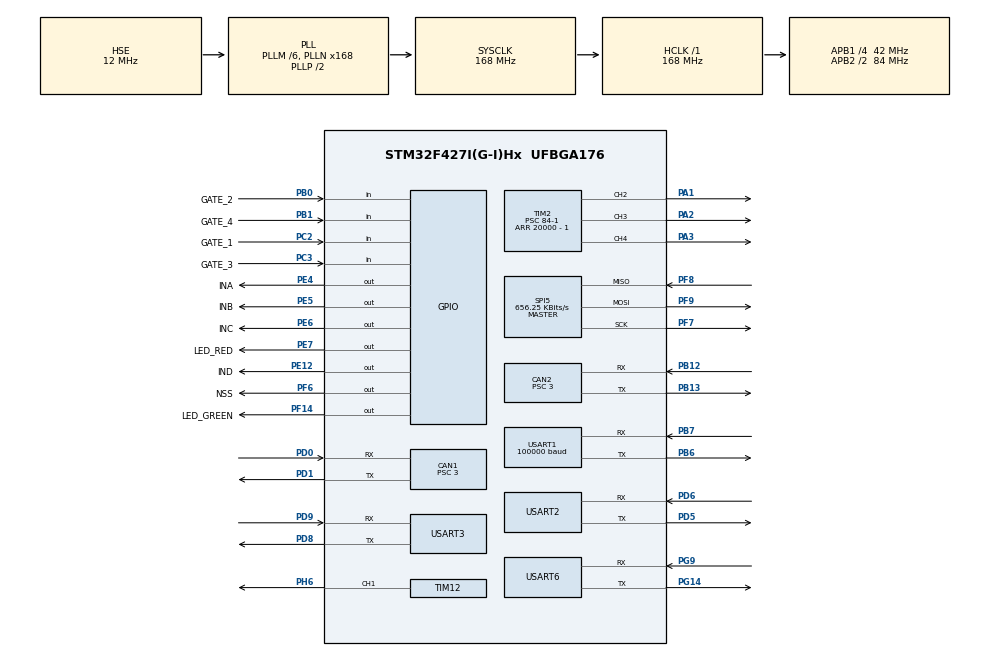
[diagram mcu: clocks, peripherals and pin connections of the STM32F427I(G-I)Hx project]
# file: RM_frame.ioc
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CAN1.BS1=CAN_BS1_9TQ
CAN1.BS2=CAN_BS2_4TQ
CAN1.CalculateTimeBit=1000
CAN1.CalculateTimeQuantum=71.42857142857143
CAN1.Prescaler=3
CAN2.BS1=CAN_BS1_9TQ
CAN2.BS2=CAN_BS2_4TQ
CAN2.CalculateTimeBit=1000
CAN2.CalculateTimeQuantum=71.42857142857143
CAN2.Prescaler=3
Dma.Request0=USART1_RX
Dma.Request1=USART3_RX
Dma.Request2=USART2_RX
Dma.Request3=USART6_RX
Dma.Request4=USART6_TX
Dma.USART1_RX.0.Direction=DMA_PERIPH_TO_MEMORY
Dma.USART1_RX.0.FIFOMode=DMA_FIFOMODE_DISABLE
Dma.USART1_RX.0.Instance=DMA2_Stream2
Dma.USART1_RX.0.MemDataAlignment=DMA_MDATAALIGN_BYTE
Dma.USART1_RX.0.MemInc=DMA_MINC_ENABLE
Dma.USART1_RX.0.Mode=DMA_NORMAL
Dma.USART1_RX.0.PeriphDataAlignment=DMA_PDATAALIGN_BYTE
Dma.USART1_RX.0.PeriphInc=DMA_PINC_DISABLE
Dma.USART1_RX.0.Priority=DMA_PRIORITY_LOW
Dma.USART2_RX.2.Direction=DMA_PERIPH_TO_MEMORY
Dma.USART2_RX.2.FIFOMode=DMA_FIFOMODE_DISABLE
Dma.USART2_RX.2.Instance=DMA1_Stream5
Dma.USART2_RX.2.MemDataAlignment=DMA_MDATAALIGN_BYTE
Dma.USART2_RX.2.MemInc=DMA_MINC_ENABLE
Dma.USART2_RX.2.Mode=DMA_NORMAL
Dma.USART2_RX.2.PeriphDataAlignment=DMA_PDATAALIGN_BYTE
Dma.USART2_RX.2.PeriphInc=DMA_PINC_DISABLE
Dma.USART2_RX.2.Priority=DMA_PRIORITY_LOW
Dma.USART3_RX.1.Direction=DMA_PERIPH_TO_MEMORY
Dma.USART3_RX.1.FIFOMode=DMA_FIFOMODE_DISABLE
Dma.USART3_RX.1.Instance=DMA1_Stream1
Dma.USART3_RX.1.MemDataAlignment=DMA_MDATAALIGN_BYTE
Dma.USART3_RX.1.MemInc=DMA_MINC_ENABLE
Dma.USART3_RX.1.Mode=DMA_NORMAL
Dma.USART3_RX.1.PeriphDataAlignment=DMA_PDATAALIGN_BYTE
Dma.USART3_RX.1.PeriphInc=DMA_PINC_DISABLE
Dma.USART3_RX.1.Priority=DMA_PRIORITY_LOW
Dma.USART6_RX.3.Direction=DMA_PERIPH_TO_MEMORY
Dma.USART6_RX.3.FIFOMode=DMA_FIFOMODE_DISABLE
Dma.USART6_RX.3.Instance=DMA2_Stream1
Dma.USART6_RX.3.MemDataAlignment=DMA_MDATAALIGN_BYTE
Dma.USART6_RX.3.MemInc=DMA_MINC_ENABLE
Dma.USART6_RX.3.Mode=DMA_NORMAL
Dma.USART6_RX.3.PeriphDataAlignment=DMA_PDATAALIGN_BYTE
Dma.USART6_RX.3.PeriphInc=DMA_PINC_DISABLE
Dma.USART6_RX.3.Priority=DMA_PRIORITY_LOW
Dma.USART6_TX.4.Direction=DMA_MEMORY_TO_PERIPH
Dma.USART6_TX.4.FIFOMode=DMA_FIFOMODE_DISABLE
Dma.USART6_TX.4.Instance=DMA2_Stream6
Dma.USART6_TX.4.MemDataAlignment=DMA_MDATAALIGN_BYTE
Dma.USART6_TX.4.MemInc=DMA_MINC_ENABLE
Dma.USART6_TX.4.Mode=DMA_NORMAL
Dma.USART6_TX.4.PeriphDataAlignment=DMA_PDATAALIGN_BYTE
Dma.USART6_TX.4.PeriphInc=DMA_PINC_DISABLE
Dma.USART6_TX.4.Priority=DMA_PRIORITY_LOW
IWDG.Prescaler=IWDG_PRESCALER_32
IWDG.Reload=300
Mcu.Family=STM32F4
Mcu.Name=STM32F427I(G-I)Hx
Mcu.Package=UFBGA176
NVIC.CAN1_RX0_IRQn=true\:0\:0\:true\:false\:true\:true
NVIC.CAN1_TX_IRQn=true\:0\:0\:true\:false\:true\:true
NVIC.CAN2_RX0_IRQn=true\:1\:0\:true\:false\:true\:true
NVIC.CAN2_TX_IRQn=true\:2\:0\:true\:false\:true\:true
NVIC.DMA1_Stream1_IRQn=true\:0\:0\:true\:false\:true\:false
NVIC.DMA1_Stream5_IRQn=true\:0\:0\:false\:false\:true\:false
NVIC.DMA2_Stream1_IRQn=true\:0\:0\:false\:false\:true\:false
NVIC.DMA2_Stream2_IRQn=true\:0\:0\:false\:false\:true\:false
NVIC.DMA2_Stream6_IRQn=true\:0\:0\:false\:false\:true\:false
NVIC.PriorityGroup=NVIC_PRIORITYGROUP_4
NVIC.TIM1_UP_TIM10_IRQn=true\:4\:0\:true\:false\:true\:true
NVIC.TIM6_DAC_IRQn=true\:3\:0\:true\:false\:true\:true
NVIC.TIM7_IRQn=true\:0\:0\:true\:false\:true\:true
NVIC.USART1_IRQn=true\:0\:0\:true\:false\:true\:true
NVIC.USART2_IRQn=true\:1\:0\:true\:false\:true\:true
NVIC.USART3_IRQn=true\:1\:0\:true\:false\:true\:true
NVIC.USART6_IRQn=true\:1\:0\:true\:false\:true\:true
PA1.Signal=S_TIM2_CH2
PA2.Signal=S_TIM2_CH3
PA3.Signal=S_TIM2_CH4
PB0.GPIO_Label=GATE_2
PB0.Signal=GPIO_Input
PB1.GPIO_Label=GATE_4
PB1.Signal=GPIO_Input
PB12.Mode=Slave
PB12.Signal=CAN2_RX
PB13.Mode=Slave
PB13.Signal=CAN2_TX
PB6.Mode=Asynchronous
PB6.Signal=USART1_TX
PB7.Mode=Asynchronous
PB7.Signal=USART1_RX
PC2.GPIO_Label=GATE_1
PC2.Signal=GPIO_Input
PC3.GPIO_Label=GATE_3
PC3.Signal=GPIO_Input
PD0.Mode=Master
PD0.Signal=CAN1_RX
PD1.Mode=Master
PD1.Signal=CAN1_TX
PD5.Mode=Asynchronous
PD5.Signal=USART2_TX
PD6.Mode=Asynchronous
PD6.Signal=USART2_RX
PD8.Mode=Asynchronous
PD8.Signal=USART3_TX
PD9.Mode=Asynchronous
PD9.Signal=USART3_RX
PE12.GPIO_Label=IND
PE12.Signal=GPIO_Output
PE4.GPIO_Label=INA
PE4.Signal=GPIO_Output
PE5.GPIO_Label=INB
PE5.Signal=GPIO_Output
PE6.GPIO_Label=INC
PE6.Signal=GPIO_Output
PE7.GPIO_Label=LED_RED
PE7.Signal=GPIO_Output
PF14.GPIO_Label=LED_GREEN
PF14.Signal=GPIO_Output
PF6.GPIO_Label=NSS
PF6.Signal=GPIO_Output
PF7.Mode=Full_Duplex_Master
PF7.Signal=SPI5_SCK
PF8.Mode=Full_Duplex_Master
PF8.Signal=SPI5_MISO
PF9.Mode=Full_Duplex_Master
PF9.Signal=SPI5_MOSI
PG14.Mode=Asynchronous
PG14.Signal=USART6_TX
PG9.Mode=Asynchronous
PG9.Signal=USART6_RX
PH0/OSC_IN.Mode=HSE-External-Oscillator
PH0/OSC_IN.Signal=RCC_OSC_IN
PH1/OSC_OUT.Mode=HSE-External-Oscillator
PH1/OSC_OUT.Signal=RCC_OSC_OUT
PH6.Signal=S_TIM12_CH1
ProjectManager.HeapSize=0x200
ProjectManager.StackSize=0x400
ProjectManager.TargetToolchain=MDK-ARM V5
RCC.48MHZClocksFreq_Value=84000000
RCC.AHBFreq_Value=168000000
RCC.APB1CLKDivider=RCC_HCLK_DIV4
RCC.APB1Freq_Value=42000000
RCC.APB1TimFreq_Value=84000000
RCC.APB2CLKDivider=RCC_HCLK_DIV2
RCC.APB2Freq_Value=84000000
RCC.APB2TimFreq_Value=168000000
RCC.CortexFreq_Value=168000000
RCC.HCLKFreq_Value=168000000
RCC.HSE_VALUE=12000000
RCC.HSI_VALUE=16000000
RCC.LSE_VALUE=32768
RCC.PLLM=6
RCC.PLLN=168
RCC.PLLSourceVirtual=RCC_PLLSOURCE_HSE
RCC.SYSCLKFreq_VALUE=168000000
RCC.SYSCLKSource=RCC_SYSCLKSOURCE_PLLCLK
RCC.VCOOutputFreq_Value=336000000
SH.S_TIM12_CH1.0=TIM12_CH1,PWM Generation1 CH1
SH.S_TIM2_CH2.0=TIM2_CH2,PWM Generation2 CH2
SH.S_TIM2_CH3.0=TIM2_CH3,PWM Generation3 CH3
SH.S_TIM2_CH4.0=TIM2_CH4,PWM Generation4 CH4
SPI5.BaudRatePrescaler=SPI_BAUDRATEPRESCALER_128
SPI5.CalculateBaudRate=656.25 KBits/s
SPI5.Direction=SPI_DIRECTION_2LINES
SPI5.Mode=SPI_MODE_MASTER
SPI5.VirtualType=VM_MASTER
TIM10.Period=10000
TIM10.Prescaler=168-1
TIM12.Channel-PWM\ Generation1\ CH1=TIM_CHANNEL_1
TIM12.Period=2500-1
TIM12.Prescaler=84-1
TIM12.Pulse-PWM\ Generation1\ CH1=1000
TIM2.Channel-PWM\ Generation2\ CH2=TIM_CHANNEL_2
TIM2.Channel-PWM\ Generation3\ CH3=TIM_CHANNEL_3
TIM2.Channel-PWM\ Generation4\ CH4=TIM_CHANNEL_4
TIM2.Period=20000 - 1
TIM2.Prescaler=84-1
TIM6.Period=2000
TIM6.Prescaler=84-1
TIM7.Period=1000
TIM7.Prescaler=84-1
USART1.BaudRate=100000
USART1.Mode=MODE_RX
USART1.Parity=PARITY_EVEN
USART1.VirtualMode=VM_ASYNC
USART1.WordLength=WORDLENGTH_9B
USART2.VirtualMode=VM_ASYNC
USART3.VirtualMode=VM_ASYNC
USART6.VirtualMode=VM_ASYNC
VP_IWDG_VS_IWDG.Mode=IWDG_Activate
VP_TIM10_VS_ClockSourceINT.Mode=Enable_Timer
VP_TIM12_VS_ClockSourceINT.Mode=Internal
VP_TIM2_VS_ClockSourceINT.Mode=Internal
VP_TIM6_VS_ClockSourceINT.Mode=Enable_Timer
VP_TIM7_VS_ClockSourceINT.Mode=Enable_Timer
board=RM_frame

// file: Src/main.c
/**
  ******************************************************************************
  * @file           : main.c
  * @brief          : Main program body
  ******************************************************************************
  ** This notice applies to any and all portions of this file
  * that are not between comment pairs USER CODE BEGIN and
  * USER CODE END. Other portions of this file, whether
  * inserted by the user or by software development tools
  * are owned by their respective copyright owners.
  *
  * COPYRIGHT(c) 2018 STMicroelectronics
  *
  * Redistribution and use in source and binary forms, with or without modification,
  * are permitted provided that the following conditions are met:
  *   1. Redistributions of source code must retain the above copyright notice,
  *      this list of conditions and the following disclaimer.
  *   2. Redistributions in binary form must reproduce the above copyright notice,
  *      this list of conditions and the following disclaimer in the documentation
  *      and/or other materials provided with the distribution.
  *   3. Neither the name of STMicroelectronics nor the names of its contributors
  *      may be used to endorse or promote products derived from this software
  *      without specific prior written permission.
  *
  * THIS SOFTWARE IS PROVIDED BY THE COPYRIGHT HOLDERS AND CONTRIBUTORS "AS IS"
  * AND ANY EXPRESS OR IMPLIED WARRANTIES, INCLUDING, BUT NOT LIMITED TO, THE
  * IMPLIED WARRANTIES OF MERCHANTABILITY AND FITNESS FOR A PARTICULAR PURPOSE ARE
  * DISCLAIMED. IN NO EVENT SHALL THE COPYRIGHT HOLDER OR CONTRIBUTORS BE LIABLE
  * FOR ANY DIRECT, INDIRECT, INCIDENTAL, SPECIAL, EXEMPLARY, OR CONSEQUENTIAL
  * DAMAGES (INCLUDING, BUT NOT LIMITED TO, PROCUREMENT OF SUBSTITUTE GOODS OR
  * SERVICES; LOSS OF USE, DATA, OR PROFITS; OR BUSINESS INTERRUPTION) HOWEVER
  * CAUSED AND ON ANY THEORY OF LIABILITY, WHETHER IN CONTRACT, STRICT LIABILITY,
  * OR TORT (INCLUDING NEGLIGENCE OR OTHERWISE) ARISING IN ANY WAY OUT OF THE USE
  * OF THIS SOFTWARE, EVEN IF ADVISED OF THE POSSIBILITY OF SUCH DAMAGE.
  *
  ******************************************************************************
  */
#include "main.h"
#include "stm32f4xx_hal.h"
#include "can.h"
#include "dma.h"
#include "iwdg.h"
#include "spi.h"
#include "tim.h"
#include "usart.h"
#include "gpio.h"

/* USER CODE BEGIN Includes */
#include "includes.h"
/* USER CODE END Includes */

/* USER CODE BEGIN PV */
uint32_t ADC_Value[160];
/* Private variables ---------------------------------------------------------*/

/* USER CODE END PV */

void SystemClock_Config(void);

/* USER CODE BEGIN PFP */
/* Private function prototypes -----------------------------------------------*/

/* USER CODE END PFP */

int main(void)
{

  /* MCU Configuration----------------------------------------------------------*/

  /* Reset of all peripherals, Initializes the Flash interface and the Systick. */
  HAL_Init();

  /* Configure the system clock */
  SystemClock_Config();

  /* USER CODE BEGIN SysInit */
	HAL_NVIC_DisableIRQ(USART2_IRQn);
	HAL_NVIC_DisableIRQ(USART3_IRQn);
	HAL_NVIC_DisableIRQ(USART6_IRQn);
	HAL_NVIC_DisableIRQ(DMA1_Stream1_IRQn);
	HAL_NVIC_DisableIRQ(DMA1_Stream5_IRQn);
	HAL_NVIC_DisableIRQ(DMA2_Stream1_IRQn);

	HAL_NVIC_DisableIRQ(CAN1_RX0_IRQn);
	HAL_NVIC_DisableIRQ(CAN2_RX0_IRQn);
	HAL_NVIC_DisableIRQ(USART1_IRQn);
	HAL_NVIC_DisableIRQ(DMA2_Stream2_IRQn);
	HAL_NVIC_DisableIRQ(TIM7_IRQn);
	HAL_NVIC_DisableIRQ(TIM6_DAC_IRQn);
	#ifdef DEBUG_MODE
		HAL_NVIC_DisableIRQ(TIM1_UP_TIM10_IRQn);
	#endif
  /* USER CODE END SysInit */

  /* Initialize all configured peripherals */
  MX_GPIO_Init();
  MX_DMA_Init();
  MX_CAN1_Init();
  MX_CAN2_Init();
  MX_SPI5_Init();
  MX_USART1_UART_Init();
  MX_TIM6_Init();
  MX_TIM12_Init();
  MX_USART2_UART_Init();
  MX_USART3_UART_Init();
  MX_USART6_UART_Init();
  MX_TIM7_Init();
  MX_TIM10_Init();
  MX_TIM2_Init();
  MX_IWDG_Init();
  /* USER CODE BEGIN 2 */
	//各模块初始化
	InitRemoteControl();
	InitMPU6500();
	Motor_ID_Setting();
	for(int i=0;i<8;i++) {InitMotor(can1[i]);InitMotor(can2[i]);}
	InitPWM();
	InitCanReception();

	#ifdef DEBUG_MODE
	ctrlUartInit();
	//时间中断
	HAL_TIM_Base_Start_IT(&htim10);
	#endif
	HAL_TIM_Base_Start_IT(&htim6);
	HAL_TIM_Base_Start_IT(&htim7);
	//HAL_TIM_PWM_Start(&htim2, TIM_CHANNEL_3);
	//HAL_TIM_PWM_Start(&htim2, TIM_CHANNEL_4);

	// 打开机械爪
	HAL_TIM_PWM_Start(SERVO_TIM, SERVO_1_CHANNEL);
	__HAL_TIM_SET_COMPARE(SERVO_TIM, SERVO_1_CHANNEL, SERVO_1_OPEN);

	// 关闭舱门
	HAL_TIM_PWM_Start(SERVO_TIM, SERVO_2_CHANNEL);
	__HAL_TIM_SET_COMPARE(SERVO_TIM, SERVO_2_CHANNEL, SERVO_2_CLOSE);

	// 钩子放下
	HAL_TIM_PWM_Start(SERVO_TIM, SERVO_3_CHANNEL);
	__HAL_TIM_SET_COMPARE(SERVO_TIM, SERVO_3_CHANNEL, SERVO_3_CLOSE);

	//ADC
	//HAL_ADC_Start_DMA(&hadc1,(uint32_t*)&ADC_Value,160);

	//其他中断
	HAL_NVIC_EnableIRQ(CAN1_RX0_IRQn);
	HAL_NVIC_EnableIRQ(CAN2_RX0_IRQn);
	HAL_NVIC_EnableIRQ(USART1_IRQn);
	HAL_NVIC_EnableIRQ(DMA2_Stream2_IRQn);
	HAL_NVIC_EnableIRQ(TIM6_DAC_IRQn);
	HAL_NVIC_EnableIRQ(TIM7_IRQn);
	#ifdef DEBUG_MODE
		HAL_NVIC_EnableIRQ(TIM1_UP_TIM10_IRQn);
	#endif

  /* USER CODE END 2 */

  /* Infinite loop */
  while (1)
  {

  /* USER CODE BEGIN 3 */
		IMURefresh();
  }
  /* USER CODE END 3 */

}

void SystemClock_Config(void)
{

  RCC_OscInitTypeDef RCC_OscInitStruct;
  RCC_ClkInitTypeDef RCC_ClkInitStruct;

    /**Configure the main internal regulator output voltage
    */
  __HAL_RCC_PWR_CLK_ENABLE();

  __HAL_PWR_VOLTAGESCALING_CONFIG(PWR_REGULATOR_VOLTAGE_SCALE1);

    /**Initializes the CPU, AHB and APB busses clocks
    */
  RCC_OscInitStruct.OscillatorType = RCC_OSCILLATORTYPE_LSI|RCC_OSCILLATORTYPE_HSE;
  RCC_OscInitStruct.HSEState = RCC_HSE_ON;
  RCC_OscInitStruct.LSIState = RCC_LSI_ON;
  RCC_OscInitStruct.PLL.PLLState = RCC_PLL_ON;
  RCC_OscInitStruct.PLL.PLLSource = RCC_PLLSOURCE_HSE;
  RCC_OscInitStruct.PLL.PLLM = 6;
  RCC_OscInitStruct.PLL.PLLN = 168;
  RCC_OscInitStruct.PLL.PLLP = RCC_PLLP_DIV2;
  RCC_OscInitStruct.PLL.PLLQ = 4;
  if (HAL_RCC_OscConfig(&RCC_OscInitStruct) != HAL_OK)
  {
    _Error_Handler(__FILE__, __LINE__);
  }

    /**Initializes the CPU, AHB and APB busses clocks
    */
  RCC_ClkInitStruct.ClockType = RCC_CLOCKTYPE_HCLK|RCC_CLOCKTYPE_SYSCLK
                              |RCC_CLOCKTYPE_PCLK1|RCC_CLOCKTYPE_PCLK2;
  RCC_ClkInitStruct.SYSCLKSource = RCC_SYSCLKSOURCE_PLLCLK;
  RCC_ClkInitStruct.AHBCLKDivider = RCC_SYSCLK_DIV1;
  RCC_ClkInitStruct.APB1CLKDivider = RCC_HCLK_DIV4;
  RCC_ClkInitStruct.APB2CLKDivider = RCC_HCLK_DIV2;

  if (HAL_RCC_ClockConfig(&RCC_ClkInitStruct, FLASH_LATENCY_5) != HAL_OK)
  {
    _Error_Handler(__FILE__, __LINE__);
  }

    /**Configure the Systick interrupt time
    */
  HAL_SYSTICK_Config(HAL_RCC_GetHCLKFreq()/1000);

    /**Configure the Systick
    */
  HAL_SYSTICK_CLKSourceConfig(SYSTICK_CLKSOURCE_HCLK);

  /* SysTick_IRQn interrupt configuration */
  HAL_NVIC_SetPriority(SysTick_IRQn, 0, 0);
}

void _Error_Handler(char *file, int line)
{
  while(1)
  {
  }
}

/************************ (C) COPYRIGHT STMicroelectronics *****END OF FILE****/
